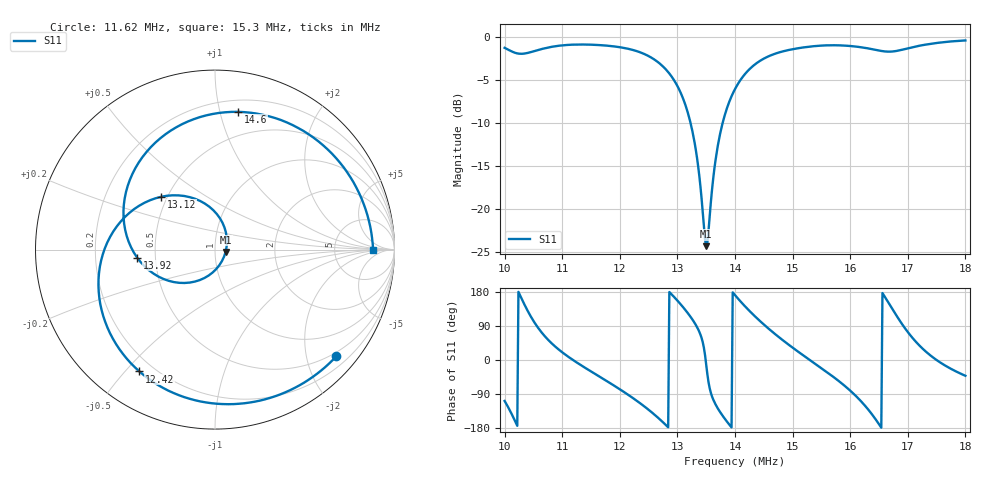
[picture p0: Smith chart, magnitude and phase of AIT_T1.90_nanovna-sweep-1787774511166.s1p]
! NanoVNA Web complex sweep
! Processing: original sample grid, no browser smoothing
# Hz S RI R 50
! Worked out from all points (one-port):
!   401 points, 10 MHz to 18 MHz, reference 50 ohm
!   lowest |S11| = -24.4 dB at 13.5 MHz (marker M1), VSWR 1.13, Z = 56.3 - j1.41 ohm
!   |S11| at or under -10 dB: 13.23 MHz to 13.79 MHz (557.8 kHz wide, 4.13 % of centre)
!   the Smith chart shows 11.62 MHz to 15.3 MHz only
!   S11 on the Smith chart (normalised r, x): 11.62 MHz: 0.41, -2.60; 12.42 MHz: 0.15, -0.55; 13.12 MHz: 0.46, +0.33; 13.92 MHz: 0.39, -0.04; 14.6 MHz: 0.29, +1.14; 15.3 MHz: 16, -0
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1e7  -0.2693 -0.8236
1.024e7  -0.8018 0.00314
1.05e7  -0.1908 0.8038
1.074e7  0.4886 0.7171
1.1e7  0.8397 0.3118
1.162e7  0.6763 -0.594
1.2e7  0.1935 -0.8521
1.242e7  -0.421 -0.6791
1.272e7  -0.6478 -0.2349
1.3e7  -0.4769 0.2046
1.312e7  -0.2989 0.2945
1.332e7  -0.00957 0.2197
1.35e7  0.0591 -0.0124
1.372e7  -0.1694 -0.186
1.392e7  -0.4339 -0.0445
1.4e7  -0.4921 0.0766
1.426e7  -0.4045 0.5149
1.46e7  0.1279 0.7676
1.5e7  0.7166 0.4587
1.53e7  0.8809 -0.00301
1.564e7  0.7167 -0.5388
1.6e7  0.143 -0.8778
1.628e7  -0.4913 -0.71
1.654e7  -0.8307 -0.0202
1.68e7  -0.3904 0.733
1.7e7  0.2401 0.8265
1.74e7  0.8974 0.1777
1.8e7  0.715 -0.6356
